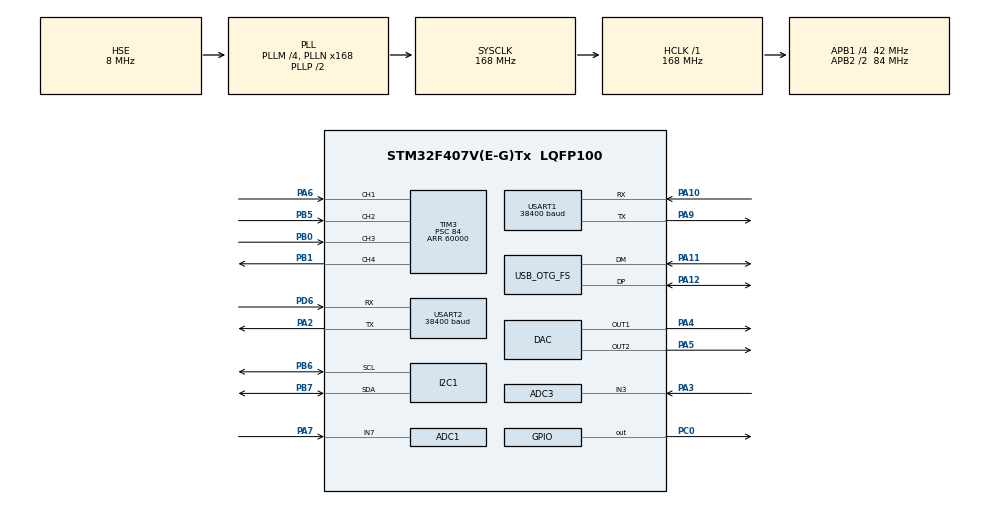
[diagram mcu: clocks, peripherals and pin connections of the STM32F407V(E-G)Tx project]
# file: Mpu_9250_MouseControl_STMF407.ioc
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ADC1.Channel-0\#ChannelRegularConversion=ADC_CHANNEL_7
ADC1.ClockPrescaler=ADC_CLOCK_SYNC_PCLK_DIV4
ADC1.ContinuousConvMode=DISABLE
ADC1.DMAContinuousRequests=DISABLE
ADC1.DataAlign=ADC_DATAALIGN_RIGHT
ADC1.DiscontinuousConvMode=DISABLE
ADC1.EOCSelection=ADC_EOC_SINGLE_CONV
ADC1.EnableAnalogWatchDog=false
ADC1.ExternalTrigConv=ADC_EXTERNALTRIGCONV_T3_TRGO
ADC1.ExternalTrigConvEdge=ADC_EXTERNALTRIGCONVEDGE_RISING
ADC1.InjNumberOfConversion=0
ADC1.NbrOfConversion=1
ADC1.NbrOfConversionFlag=1
ADC1.Rank-0\#ChannelRegularConversion=1
ADC1.Resolution=ADC_RESOLUTION_12B
ADC1.SamplingTime-0\#ChannelRegularConversion=ADC_SAMPLETIME_3CYCLES
ADC1.ScanConvMode=DISABLE
ADC1.master=1
ADC3.Channel-0\#ChannelRegularConversion=ADC_CHANNEL_3
ADC3.ClockPrescaler=ADC_CLOCK_SYNC_PCLK_DIV4
ADC3.ContinuousConvMode=DISABLE
ADC3.DMAContinuousRequests=DISABLE
ADC3.DataAlign=ADC_DATAALIGN_RIGHT
ADC3.DiscontinuousConvMode=DISABLE
ADC3.EOCSelection=ADC_EOC_SINGLE_CONV
ADC3.EnableAnalogWatchDog=false
ADC3.ExternalTrigConv=ADC_EXTERNALTRIGCONV_T3_TRGO
ADC3.ExternalTrigConvEdge=ADC_EXTERNALTRIGCONVEDGE_RISING
ADC3.InjNumberOfConversion=0
ADC3.NbrOfConversion=1
ADC3.NbrOfConversionFlag=1
ADC3.Rank-0\#ChannelRegularConversion=1
ADC3.Resolution=ADC_RESOLUTION_12B
ADC3.SamplingTime-0\#ChannelRegularConversion=ADC_SAMPLETIME_3CYCLES
ADC3.ScanConvMode=DISABLE
Mcu.Family=STM32F4
Mcu.Name=STM32F407V(E-G)Tx
Mcu.Package=LQFP100
NVIC.ADC_IRQn=true\:0\:0\:false\:false\:true\:true
NVIC.OTG_FS_IRQn=true\:0\:0\:false\:false\:true\:false
NVIC.PriorityGroup=NVIC_PRIORITYGROUP_4
NVIC.TIM2_IRQn=true\:1\:0\:true\:false\:true\:true
NVIC.TIM3_IRQn=true\:1\:0\:true\:false\:true\:true
NVIC.TIM4_IRQn=true\:1\:0\:true\:false\:true\:true
NVIC.TIM5_IRQn=true\:1\:0\:true\:false\:true\:true
NVIC.USART1_IRQn=true\:0\:0\:false\:false\:true\:true
PA10.Mode=Asynchronous
PA10.Signal=USART1_RX
PA11.Mode=Device_Only
PA11.Signal=USB_OTG_FS_DM
PA12.Mode=Device_Only
PA12.Signal=USB_OTG_FS_DP
PA2.Mode=Asynchronous
PA2.Signal=USART2_TX
PA3.Signal=ADCx_IN3
PA4.Signal=COMP_DAC1_group
PA5.Signal=COMP_DAC2_group
PA6.Signal=S_TIM3_CH1
PA7.Signal=ADCx_IN7
PA9.Mode=Asynchronous
PA9.Signal=USART1_TX
PB0.Signal=S_TIM3_CH3
PB1.Signal=S_TIM3_CH4
PB5.Signal=S_TIM3_CH2
PB6.Mode=I2C
PB6.Signal=I2C1_SCL
PB7.Mode=I2C
PB7.Signal=I2C1_SDA
PC0.Signal=GPIO_Output
PD6.Mode=Asynchronous
PD6.Signal=USART2_RX
PH0-OSC_IN.Mode=HSE-External-Oscillator
PH0-OSC_IN.Signal=RCC_OSC_IN
PH1-OSC_OUT.Mode=HSE-External-Oscillator
PH1-OSC_OUT.Signal=RCC_OSC_OUT
ProjectManager.HeapSize=0x200
ProjectManager.StackSize=0x400
ProjectManager.TargetToolchain=MDK-ARM V5
RCC.48MHZClocksFreq_Value=48000000
RCC.AHBFreq_Value=168000000
RCC.APB1CLKDivider=RCC_HCLK_DIV4
RCC.APB1Freq_Value=42000000
RCC.APB1TimFreq_Value=84000000
RCC.APB2CLKDivider=RCC_HCLK_DIV2
RCC.APB2Freq_Value=84000000
RCC.APB2TimFreq_Value=168000000
RCC.CortexFreq_Value=168000000
RCC.HCLKFreq_Value=168000000
RCC.HSE_VALUE=8000000
RCC.HSI_VALUE=16000000
RCC.LSE_VALUE=32768
RCC.PLLM=4
RCC.PLLN=168
RCC.PLLQ=7
RCC.SYSCLKFreq_VALUE=168000000
RCC.SYSCLKSource=RCC_SYSCLKSOURCE_PLLCLK
RCC.VCOOutputFreq_Value=336000000
SH.ADCx_IN3.0=ADC3_IN3,IN3
SH.ADCx_IN7.0=ADC1_IN7,IN7
SH.COMP_DAC1_group.0=DAC_OUT1,DAC_OUT1
SH.COMP_DAC2_group.0=DAC_OUT2,DAC_OUT2
SH.S_TIM3_CH1.0=TIM3_CH1,Input_Capture1_from_TI1
SH.S_TIM3_CH2.0=TIM3_CH2,Input_Capture2_from_TI2
SH.S_TIM3_CH3.0=TIM3_CH3,Input_Capture3_from_TI3
SH.S_TIM3_CH4.0=TIM3_CH4,PWM Generation4 CH4
TIM2.Period=20000
TIM2.Prescaler=84
TIM2.TIM_MasterOutputTrigger=TIM_TRGO_UPDATE
TIM3.Channel-Input_Capture1_from_TI1=TIM_CHANNEL_1
TIM3.Channel-Input_Capture2_from_TI2=TIM_CHANNEL_2
TIM3.Channel-Input_Capture3_from_TI3=TIM_CHANNEL_3
TIM3.Channel-PWM\ Generation4\ CH4=TIM_CHANNEL_4
TIM3.ICPolarity_CH1=TIM_INPUTCHANNELPOLARITY_BOTHEDGE
TIM3.ICPolarity_CH2=TIM_INPUTCHANNELPOLARITY_BOTHEDGE
TIM3.ICPolarity_CH3=TIM_INPUTCHANNELPOLARITY_BOTHEDGE
TIM3.Period=60000
TIM3.Prescaler=84
TIM3.TIM_MasterOutputTrigger=TIM_TRGO_UPDATE
TIM4.Period=5000
TIM4.Prescaler=84
TIM4.TIM_MasterOutputTrigger=TIM_TRGO_UPDATE
TIM5.Period=20000
TIM5.Prescaler=84
TIM5.TIM_MasterOutputTrigger=TIM_TRGO_UPDATE
USART1.BaudRate=38400
USART1.VirtualMode=VM_ASYNC
USART2.BaudRate=38400
USART2.VirtualMode=VM_ASYNC
USB_DEVICE.CLASS_NAME_FS=HID
USB_DEVICE.VirtualMode-HID_FS=Hid
USB_DEVICE.VirtualModeFS=Hid_FS
USB_OTG_FS.VirtualMode=Device_Only
VP_TIM2_VS_ClockSourceINT.Mode=Internal
VP_TIM3_VS_ClockSourceINT.Mode=Internal
VP_TIM4_VS_ClockSourceINT.Mode=Internal
VP_TIM5_VS_ClockSourceINT.Mode=Internal
VP_USB_DEVICE_VS_USB_DEVICE_HID_FS.Mode=HID_FS
board=Mpu_9250_MouseControl_STMF407

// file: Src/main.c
/**
  ******************************************************************************
  * @file           : main.c
  * @brief          : Main program body
  ******************************************************************************
  * This notice applies to any and all portions of this file
  * that are not between comment pairs USER CODE BEGIN and
  * USER CODE END. Other portions of this file, whether
  * inserted by the user or by software development tools
  * are owned by their respective copyright owners.
  *
  * Copyright (c) 2019 STMicroelectronics International N.V.
  * All rights reserved.
  *
  * Redistribution and use in source and binary forms, with or without
  * modification, are permitted, provided that the following conditions are met:
  *
  * 1. Redistribution of source code must retain the above copyright notice,
  *    this list of conditions and the following disclaimer.
  * 2. Redistributions in binary form must reproduce the above copyright notice,
  *    this list of conditions and the following disclaimer in the documentation
  *    and/or other materials provided with the distribution.
  * 3. Neither the name of STMicroelectronics nor the names of other
  *    contributors to this software may be used to endorse or promote products
  *    derived from this software without specific written permission.
  * 4. This software, including modifications and/or derivative works of this
  *    software, must execute solely and exclusively on microcontroller or
  *    microprocessor devices manufactured by or for STMicroelectronics.
  * 5. Redistribution and use of this software other than as permitted under
  *    this license is void and will automatically terminate your rights under
  *    this license.
  *
  * THIS SOFTWARE IS PROVIDED BY STMICROELECTRONICS AND CONTRIBUTORS "AS IS"
  * AND ANY EXPRESS, IMPLIED OR STATUTORY WARRANTIES, INCLUDING, BUT NOT
  * LIMITED TO, THE IMPLIED WARRANTIES OF MERCHANTABILITY, FITNESS FOR A
  * PARTICULAR PURPOSE AND NON-INFRINGEMENT OF THIRD PARTY INTELLECTUAL PROPERTY
  * RIGHTS ARE DISCLAIMED TO THE FULLEST EXTENT PERMITTED BY LAW. IN NO EVENT
  * SHALL STMICROELECTRONICS OR CONTRIBUTORS BE LIABLE FOR ANY DIRECT, INDIRECT,
  * INCIDENTAL, SPECIAL, EXEMPLARY, OR CONSEQUENTIAL DAMAGES (INCLUDING, BUT NOT
  * LIMITED TO, PROCUREMENT OF SUBSTITUTE GOODS OR SERVICES; LOSS OF USE, DATA,
  * OR PROFITS; OR BUSINESS INTERRUPTION) HOWEVER CAUSED AND ON ANY THEORY OF
  * LIABILITY, WHETHER IN CONTRACT, STRICT LIABILITY, OR TORT (INCLUDING
  * NEGLIGENCE OR OTHERWISE) ARISING IN ANY WAY OUT OF THE USE OF THIS SOFTWARE,
  * EVEN IF ADVISED OF THE POSSIBILITY OF SUCH DAMAGE.
  *
  ******************************************************************************
  */
#include "main.h"
#include "stm32f4xx_hal.h"
#include "usb_device.h"

/* USER CODE BEGIN Includes */

#define PWMPULSE 10

/* USER CODE END Includes */

ADC_HandleTypeDef hadc1;
ADC_HandleTypeDef hadc3;

DAC_HandleTypeDef hdac;

I2C_HandleTypeDef hi2c1;

TIM_HandleTypeDef htim2;
TIM_HandleTypeDef htim3;
TIM_HandleTypeDef htim4;
TIM_HandleTypeDef htim5;

UART_HandleTypeDef huart1;
UART_HandleTypeDef huart2;

/* USER CODE BEGIN PV */
/* Private variables ---------------------------------------------------------*/
/* USER CODE END PV */

void SystemClock_Config(void);
static void MX_GPIO_Init(void);
static void MX_I2C1_Init(void);
static void MX_TIM2_Init(void);
static void MX_TIM3_Init(void);
static void MX_ADC1_Init(void);
static void MX_ADC3_Init(void);
static void MX_DAC_Init(void);
static void MX_TIM4_Init(void);
static void MX_USART1_UART_Init(void);
static void MX_TIM5_Init(void);
static void MX_USART2_UART_Init(void);

void HAL_TIM_MspPostInit(TIM_HandleTypeDef *htim);

/* USER CODE BEGIN PFP */
/* Private function prototypes -----------------------------------------------*/
/* USER CODE END PFP */

/* USER CODE BEGIN 0 */
int8_t switchMode = 0;
/* USER CODE END 0 */

int main(void)
{

  /* MCU Configuration----------------------------------------------------------*/

  /* Reset of all peripherals, Initializes the Flash interface and the Systick. */
  HAL_Init();

  /* Configure the system clock */
  SystemClock_Config();

  /* Initialize all configured peripherals */
  MX_GPIO_Init();
  MX_USB_DEVICE_Init();
  MX_I2C1_Init();
  MX_TIM2_Init();
  MX_TIM3_Init();
  MX_ADC1_Init();
  MX_ADC3_Init();
  MX_DAC_Init();
  MX_TIM4_Init();
  MX_USART1_UART_Init();
  MX_TIM5_Init();
  MX_USART2_UART_Init();
  /* USER CODE BEGIN 2 */
	HAL_TIM_IC_Start_IT(&htim3, TIM_CHANNEL_1);
	HAL_TIM_IC_Start_IT(&htim3, TIM_CHANNEL_2);
	HAL_TIM_IC_Start_IT(&htim3, TIM_CHANNEL_3);
	__HAL_TIM_SetCompare(&htim3, TIM_CHANNEL_4, PWMPULSE);
	HAL_TIM_PWM_Start(&htim3, TIM_CHANNEL_4);

	HAL_DAC_Start(&hdac , DAC_CHANNEL_1);
	HAL_DAC_Start(&hdac , DAC_CHANNEL_2);
	HAL_ADC_Start_IT(&hadc1);
	HAL_ADC_Start_IT(&hadc3);

  /* USER CODE END 2 */

  /* Infinite loop */
  /* USER CODE BEGIN WHILE */

	char* msg = "MK connected\r";
	HAL_UART_Transmit(&huart1, (uint8_t*)msg, strlen(msg), HAL_MAX_DELAY);
	HAL_TIM_Base_Start_IT(&htim2);
	__HAL_TIM_ENABLE_IT(&htim2, TIM_IT_UPDATE);

	HAL_TIM_Base_Start_IT(&htim4);
	__HAL_TIM_ENABLE_IT(&htim4, TIM_IT_UPDATE);

	HAL_TIM_Base_Start_IT(&htim5);
	__HAL_TIM_ENABLE_IT(&htim5, TIM_IT_UPDATE);

    huart1.Instance->CR1 |= USART_CR1_RXNEIE;
	switchMode = RemoteON;
    while (1)
    {

  /* USER CODE END WHILE */

    }

}

void SystemClock_Config(void)
{

  RCC_OscInitTypeDef RCC_OscInitStruct;
  RCC_ClkInitTypeDef RCC_ClkInitStruct;

    /**Configure the main internal regulator output voltage
    */
  __HAL_RCC_PWR_CLK_ENABLE();

  __HAL_PWR_VOLTAGESCALING_CONFIG(PWR_REGULATOR_VOLTAGE_SCALE1);

    /**Initializes the CPU, AHB and APB busses clocks
    */
  RCC_OscInitStruct.OscillatorType = RCC_OSCILLATORTYPE_HSE;
  RCC_OscInitStruct.HSEState = RCC_HSE_ON;
  RCC_OscInitStruct.PLL.PLLState = RCC_PLL_ON;
  RCC_OscInitStruct.PLL.PLLSource = RCC_PLLSOURCE_HSE;
  RCC_OscInitStruct.PLL.PLLM = 4;
  RCC_OscInitStruct.PLL.PLLN = 168;
  RCC_OscInitStruct.PLL.PLLP = RCC_PLLP_DIV2;
  RCC_OscInitStruct.PLL.PLLQ = 7;
  if (HAL_RCC_OscConfig(&RCC_OscInitStruct) != HAL_OK)
  {
    _Error_Handler(__FILE__, __LINE__);
  }

    /**Initializes the CPU, AHB and APB busses clocks
    */
  RCC_ClkInitStruct.ClockType = RCC_CLOCKTYPE_HCLK|RCC_CLOCKTYPE_SYSCLK
                              |RCC_CLOCKTYPE_PCLK1|RCC_CLOCKTYPE_PCLK2;
  RCC_ClkInitStruct.SYSCLKSource = RCC_SYSCLKSOURCE_PLLCLK;
  RCC_ClkInitStruct.AHBCLKDivider = RCC_SYSCLK_DIV1;
  RCC_ClkInitStruct.APB1CLKDivider = RCC_HCLK_DIV4;
  RCC_ClkInitStruct.APB2CLKDivider = RCC_HCLK_DIV2;

  if (HAL_RCC_ClockConfig(&RCC_ClkInitStruct, FLASH_LATENCY_5) != HAL_OK)
  {
    _Error_Handler(__FILE__, __LINE__);
  }

    /**Configure the Systick interrupt time
    */
  HAL_SYSTICK_Config(HAL_RCC_GetHCLKFreq()/1000);

    /**Configure the Systick
    */
  HAL_SYSTICK_CLKSourceConfig(SYSTICK_CLKSOURCE_HCLK);

  /* SysTick_IRQn interrupt configuration */
  HAL_NVIC_SetPriority(SysTick_IRQn, 0, 0);
}

/* ADC1 init function */
static void MX_ADC1_Init(void)
{

  ADC_ChannelConfTypeDef sConfig;

    /**Configure the global features of the ADC (Clock, Resolution, Data Alignment and number of conversion)
    */
  hadc1.Instance = ADC1;
  hadc1.Init.ClockPrescaler = ADC_CLOCK_SYNC_PCLK_DIV4;
  hadc1.Init.Resolution = ADC_RESOLUTION_12B;
  hadc1.Init.ScanConvMode = DISABLE;
  hadc1.Init.ContinuousConvMode = DISABLE;
  hadc1.Init.DiscontinuousConvMode = DISABLE;
  hadc1.Init.ExternalTrigConvEdge = ADC_EXTERNALTRIGCONVEDGE_RISING;
  hadc1.Init.ExternalTrigConv = ADC_EXTERNALTRIGCONV_T3_TRGO;
  hadc1.Init.DataAlign = ADC_DATAALIGN_RIGHT;
  hadc1.Init.NbrOfConversion = 1;
  hadc1.Init.DMAContinuousRequests = DISABLE;
  hadc1.Init.EOCSelection = ADC_EOC_SINGLE_CONV;
  if (HAL_ADC_Init(&hadc1) != HAL_OK)
  {
    _Error_Handler(__FILE__, __LINE__);
  }

    /**Configure for the selected ADC regular channel its corresponding rank in the sequencer and its sample time.
    */
  sConfig.Channel = ADC_CHANNEL_7;
  sConfig.Rank = 1;
  sConfig.SamplingTime = ADC_SAMPLETIME_3CYCLES;
  if (HAL_ADC_ConfigChannel(&hadc1, &sConfig) != HAL_OK)
  {
    _Error_Handler(__FILE__, __LINE__);
  }

}

/* ADC3 init function */
static void MX_ADC3_Init(void)
{

  ADC_ChannelConfTypeDef sConfig;

    /**Configure the global features of the ADC (Clock, Resolution, Data Alignment and number of conversion)
    */
  hadc3.Instance = ADC3;
  hadc3.Init.ClockPrescaler = ADC_CLOCK_SYNC_PCLK_DIV4;
  hadc3.Init.Resolution = ADC_RESOLUTION_12B;
  hadc3.Init.ScanConvMode = DISABLE;
  hadc3.Init.ContinuousConvMode = DISABLE;
  hadc3.Init.DiscontinuousConvMode = DISABLE;
  hadc3.Init.ExternalTrigConvEdge = ADC_EXTERNALTRIGCONVEDGE_RISING;
  hadc3.Init.ExternalTrigConv = ADC_EXTERNALTRIGCONV_T3_TRGO;
  hadc3.Init.DataAlign = ADC_DATAALIGN_RIGHT;
  hadc3.Init.NbrOfConversion = 1;
  hadc3.Init.DMAContinuousRequests = DISABLE;
  hadc3.Init.EOCSelection = ADC_EOC_SINGLE_CONV;
  if (HAL_ADC_Init(&hadc3) != HAL_OK)
  {
    _Error_Handler(__FILE__, __LINE__);
  }

    /**Configure for the selected ADC regular channel its corresponding rank in the sequencer and its sample time.
    */
  sConfig.Channel = ADC_CHANNEL_3;
  sConfig.Rank = 1;
  sConfig.SamplingTime = ADC_SAMPLETIME_3CYCLES;
  if (HAL_ADC_ConfigChannel(&hadc3, &sConfig) != HAL_OK)
  {
    _Error_Handler(__FILE__, __LINE__);
  }

}

/* DAC init function */
static void MX_DAC_Init(void)
{

  DAC_ChannelConfTypeDef sConfig;

    /**DAC Initialization
    */
  hdac.Instance = DAC;
  if (HAL_DAC_Init(&hdac) != HAL_OK)
  {
    _Error_Handler(__FILE__, __LINE__);
  }

    /**DAC channel OUT1 config
    */
  sConfig.DAC_Trigger = DAC_TRIGGER_NONE;
  sConfig.DAC_OutputBuffer = DAC_OUTPUTBUFFER_ENABLE;
  if (HAL_DAC_ConfigChannel(&hdac, &sConfig, DAC_CHANNEL_1) != HAL_OK)
  {
    _Error_Handler(__FILE__, __LINE__);
  }

    /**DAC channel OUT2 config
    */
  if (HAL_DAC_ConfigChannel(&hdac, &sConfig, DAC_CHANNEL_2) != HAL_OK)
  {
    _Error_Handler(__FILE__, __LINE__);
  }

}

/* I2C1 init function */
static void MX_I2C1_Init(void)
{

  hi2c1.Instance = I2C1;
  hi2c1.Init.ClockSpeed = 100000;
  hi2c1.Init.DutyCycle = I2C_DUTYCYCLE_2;
  hi2c1.Init.OwnAddress1 = 0;
  hi2c1.Init.AddressingMode = I2C_ADDRESSINGMODE_7BIT;
  hi2c1.Init.DualAddressMode = I2C_DUALADDRESS_DISABLE;
  hi2c1.Init.OwnAddress2 = 0;
  hi2c1.Init.GeneralCallMode = I2C_GENERALCALL_DISABLE;
  hi2c1.Init.NoStretchMode = I2C_NOSTRETCH_DISABLE;
  if (HAL_I2C_Init(&hi2c1) != HAL_OK)
  {
    _Error_Handler(__FILE__, __LINE__);
  }

}

/* TIM2 init function */
static void MX_TIM2_Init(void)
{

  TIM_ClockConfigTypeDef sClockSourceConfig;
  TIM_MasterConfigTypeDef sMasterConfig;

  htim2.Instance = TIM2;
  htim2.Init.Prescaler = 84;
  htim2.Init.CounterMode = TIM_COUNTERMODE_UP;
  htim2.Init.Period = 20000;
  htim2.Init.ClockDivision = TIM_CLOCKDIVISION_DIV1;
  if (HAL_TIM_Base_Init(&htim2) != HAL_OK)
  {
    _Error_Handler(__FILE__, __LINE__);
  }

  sClockSourceConfig.ClockSource = TIM_CLOCKSOURCE_INTERNAL;
  if (HAL_TIM_ConfigClockSource(&htim2, &sClockSourceConfig) != HAL_OK)
  {
    _Error_Handler(__FILE__, __LINE__);
  }

  sMasterConfig.MasterOutputTrigger = TIM_TRGO_UPDATE;
  sMasterConfig.MasterSlaveMode = TIM_MASTERSLAVEMODE_DISABLE;
  if (HAL_TIMEx_MasterConfigSynchronization(&htim2, &sMasterConfig) != HAL_OK)
  {
    _Error_Handler(__FILE__, __LINE__);
  }

}

/* TIM3 init function */
static void MX_TIM3_Init(void)
{

  TIM_ClockConfigTypeDef sClockSourceConfig;
  TIM_MasterConfigTypeDef sMasterConfig;
  TIM_IC_InitTypeDef sConfigIC;
  TIM_OC_InitTypeDef sConfigOC;

  htim3.Instance = TIM3;
  htim3.Init.Prescaler = 84;
  htim3.Init.CounterMode = TIM_COUNTERMODE_UP;
  htim3.Init.Period = 60000;
  htim3.Init.ClockDivision = TIM_CLOCKDIVISION_DIV1;
  if (HAL_TIM_Base_Init(&htim3) != HAL_OK)
  {
    _Error_Handler(__FILE__, __LINE__);
  }

  sClockSourceConfig.ClockSource = TIM_CLOCKSOURCE_INTERNAL;
  if (HAL_TIM_ConfigClockSource(&htim3, &sClockSourceConfig) != HAL_OK)
  {
    _Error_Handler(__FILE__, __LINE__);
  }

  if (HAL_TIM_IC_Init(&htim3) != HAL_OK)
  {
    _Error_Handler(__FILE__, __LINE__);
  }

  if (HAL_TIM_PWM_Init(&htim3) != HAL_OK)
  {
    _Error_Handler(__FILE__, __LINE__);
  }

  sMasterConfig.MasterOutputTrigger = TIM_TRGO_UPDATE;
  sMasterConfig.MasterSlaveMode = TIM_MASTERSLAVEMODE_DISABLE;
  if (HAL_TIMEx_MasterConfigSynchronization(&htim3, &sMasterConfig) != HAL_OK)
  {
    _Error_Handler(__FILE__, __LINE__);
  }

  sConfigIC.ICPolarity = TIM_INPUTCHANNELPOLARITY_BOTHEDGE;
  sConfigIC.ICSelection = TIM_ICSELECTION_DIRECTTI;
  sConfigIC.ICPrescaler = TIM_ICPSC_DIV1;
  sConfigIC.ICFilter = 0;
  if (HAL_TIM_IC_ConfigChannel(&htim3, &sConfigIC, TIM_CHANNEL_1) != HAL_OK)
  {
    _Error_Handler(__FILE__, __LINE__);
  }

  if (HAL_TIM_IC_ConfigChannel(&htim3, &sConfigIC, TIM_CHANNEL_2) != HAL_OK)
  {
    _Error_Handler(__FILE__, __LINE__);
  }

  if (HAL_TIM_IC_ConfigChannel(&htim3, &sConfigIC, TIM_CHANNEL_3) != HAL_OK)
  {
    _Error_Handler(__FILE__, __LINE__);
  }

  sConfigOC.OCMode = TIM_OCMODE_PWM1;
  sConfigOC.Pulse = 0;
  sConfigOC.OCPolarity = TIM_OCPOLARITY_HIGH;
  sConfigOC.OCFastMode = TIM_OCFAST_DISABLE;
  if (HAL_TIM_PWM_ConfigChannel(&htim3, &sConfigOC, TIM_CHANNEL_4) != HAL_OK)
  {
    _Error_Handler(__FILE__, __LINE__);
  }

  HAL_TIM_MspPostInit(&htim3);

}

/* TIM4 init function */
static void MX_TIM4_Init(void)
{

  TIM_ClockConfigTypeDef sClockSourceConfig;
  TIM_MasterConfigTypeDef sMasterConfig;

  htim4.Instance = TIM4;
  htim4.Init.Prescaler = 84;
  htim4.Init.CounterMode = TIM_COUNTERMODE_UP;
  htim4.Init.Period = 5000;
  htim4.Init.ClockDivision = TIM_CLOCKDIVISION_DIV1;
  if (HAL_TIM_Base_Init(&htim4) != HAL_OK)
  {
    _Error_Handler(__FILE__, __LINE__);
  }

  sClockSourceConfig.ClockSource = TIM_CLOCKSOURCE_INTERNAL;
  if (HAL_TIM_ConfigClockSource(&htim4, &sClockSourceConfig) != HAL_OK)
  {
    _Error_Handler(__FILE__, __LINE__);
  }

  sMasterConfig.MasterOutputTrigger = TIM_TRGO_UPDATE;
  sMasterConfig.MasterSlaveMode = TIM_MASTERSLAVEMODE_DISABLE;
  if (HAL_TIMEx_MasterConfigSynchronization(&htim4, &sMasterConfig) != HAL_OK)
  {
    _Error_Handler(__FILE__, __LINE__);
  }

}

/* TIM5 init function */
static void MX_TIM5_Init(void)
{

  TIM_ClockConfigTypeDef sClockSourceConfig;
  TIM_MasterConfigTypeDef sMasterConfig;

  htim5.Instance = TIM5;
  htim5.Init.Prescaler = 84;
  htim5.Init.CounterMode = TIM_COUNTERMODE_UP;
  htim5.Init.Period = 20000;
  htim5.Init.ClockDivision = TIM_CLOCKDIVISION_DIV1;
  if (HAL_TIM_Base_Init(&htim5) != HAL_OK)
  {
    _Error_Handler(__FILE__, __LINE__);
  }

  sClockSourceConfig.ClockSource = TIM_CLOCKSOURCE_INTERNAL;
  if (HAL_TIM_ConfigClockSource(&htim5, &sClockSourceConfig) != HAL_OK)
  {
    _Error_Handler(__FILE__, __LINE__);
  }

  sMasterConfig.MasterOutputTrigger = TIM_TRGO_UPDATE;
  sMasterConfig.MasterSlaveMode = TIM_MASTERSLAVEMODE_DISABLE;
  if (HAL_TIMEx_MasterConfigSynchronization(&htim5, &sMasterConfig) != HAL_OK)
  {
    _Error_Handler(__FILE__, __LINE__);
  }

}

/* USART1 init function */
static void MX_USART1_UART_Init(void)
{

  huart1.Instance = USART1;
  huart1.Init.BaudRate = 38400;
  huart1.Init.WordLength = UART_WORDLENGTH_8B;
  huart1.Init.StopBits = UART_STOPBITS_1;
  huart1.Init.Parity = UART_PARITY_NONE;
  huart1.Init.Mode = UART_MODE_TX_RX;
  huart1.Init.HwFlowCtl = UART_HWCONTROL_NONE;
  huart1.Init.OverSampling = UART_OVERSAMPLING_16;
  if (HAL_UART_Init(&huart1) != HAL_OK)
  {
    _Error_Handler(__FILE__, __LINE__);
  }

}

/* USART2 init function */
static void MX_USART2_UART_Init(void)
{

  huart2.Instance = USART2;
  huart2.Init.BaudRate = 38400;
  huart2.Init.WordLength = UART_WORDLENGTH_8B;
  huart2.Init.StopBits = UART_STOPBITS_1;
  huart2.Init.Parity = UART_PARITY_NONE;
  huart2.Init.Mode = UART_MODE_TX_RX;
  huart2.Init.HwFlowCtl = UART_HWCONTROL_NONE;
  huart2.Init.OverSampling = UART_OVERSAMPLING_16;
  if (HAL_UART_Init(&huart2) != HAL_OK)
  {
    _Error_Handler(__FILE__, __LINE__);
  }

}

/** Configure pins as
        * Analog
        * Input
        * Output
        * EVENT_OUT
        * EXTI
*/
static void MX_GPIO_Init(void)
{

  GPIO_InitTypeDef GPIO_InitStruct;

  /* GPIO Ports Clock Enable */
  __HAL_RCC_GPIOH_CLK_ENABLE();
  __HAL_RCC_GPIOC_CLK_ENABLE();
  __HAL_RCC_GPIOA_CLK_ENABLE();
  __HAL_RCC_GPIOB_CLK_ENABLE();
  __HAL_RCC_GPIOD_CLK_ENABLE();

  /*Configure GPIO pin Output Level */
  HAL_GPIO_WritePin(GPIOC, GPIO_PIN_0, GPIO_PIN_RESET);

  /*Configure GPIO pin : PC0 */
  GPIO_InitStruct.Pin = GPIO_PIN_0;
  GPIO_InitStruct.Mode = GPIO_MODE_OUTPUT_PP;
  GPIO_InitStruct.Pull = GPIO_NOPULL;
  GPIO_InitStruct.Speed = GPIO_SPEED_FREQ_LOW;
  HAL_GPIO_Init(GPIOC, &GPIO_InitStruct);

}

void _Error_Handler(char *file, int line)
{
  while(1)
  {
  }
}

/************************ (C) COPYRIGHT STMicroelectronics *****END OF FILE****/
